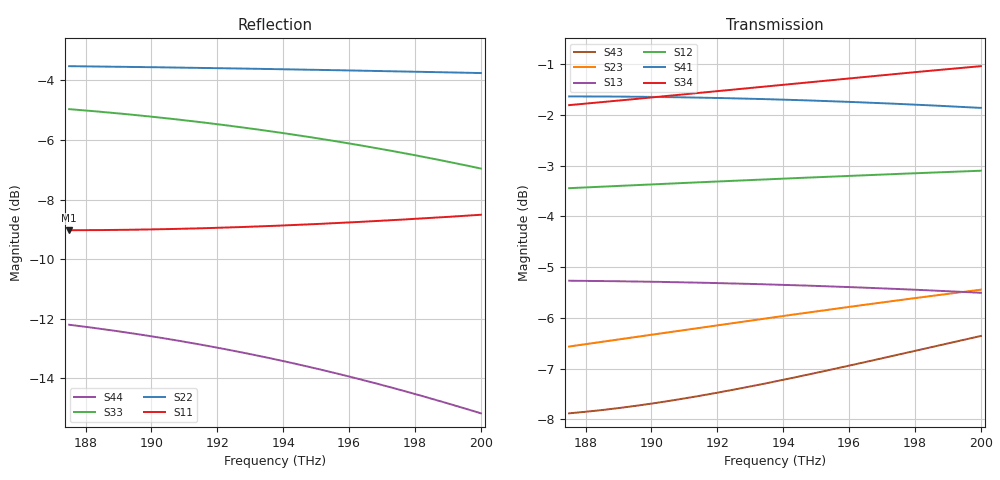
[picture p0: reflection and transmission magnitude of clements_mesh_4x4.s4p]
! 4-Channel Clements Photonic Neural Network Unitary Mesh
! Platform: 220nm SOI Silicon Photonics, Center Wavelength: 1550 nm
! Format: Frequency (Hz), S-parameters: Magnitude / Angle (Degrees)
# HZ S MA R 50
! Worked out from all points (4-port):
!   300 points, 187.5 THz to 200 THz, reference 50 ohm
!   strongest paths, dB at 187.5 THz, 190.5 THz, 193.6 THz, 196.8 THz, 200 THz:
!     S34: -1.8, -1.6, -1.4, -1.2, -1.0
!     S41: -1.6, -1.6, -1.7, -1.8, -1.9
!     S12: -3.4, -3.4, -3.3, -3.2, -3.1
!     S13: -5.3, -5.3, -5.3, -5.4, -5.5
!     S23: -6.6, -6.3, -6.0, -5.7, -5.4
!     S43: -7.9, -7.6, -7.3, -6.8, -6.4
!   lowest |S11| = -9.0 dB at 187.5 THz (marker M1), VSWR 2.09, Z = 52.5 - j38.7 ohm
!   |S11| at or under -10 dB: nowhere
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1.875e14  0.3536 -65.6  0.6728 58.5  0.5454 -161.3  0.3535 16.4
          0.4237 43.0  0.6669 46.3  0.4697 21.4  0.3939 -149.1
          0.09595 170.2  0.1099 41.5  0.5648 41.4  0.8122 52.2
          0.8284 142.6  0.301 17.9  0.4037 -104.2  0.2453 116.3
1.906482e14  0.3552 -67.5  0.68 63.6  0.5436 -151.7  0.3404 27.2
             0.4273 45.8  0.6635 54.4  0.4858 35.4  0.3757 -137.2
             0.08504 157.7  0.08811 42.8  0.5437 48.6  0.8303 58.1
             0.827 143.5  0.2994 24.9  0.4157 -89.2  0.2314 125.4
1.92036e14  0.3569 -68.2  0.6831 65.9  0.5424 -147.4  0.3343 32.0
            0.4294 47.1  0.6617 57.9  0.4931 41.5  0.3669 -131.9
            0.08278 151.4  0.07925 42.7  0.5325 51.6  0.8386 60.7
            0.8255 143.9  0.2986 28.1  0.4232 -82.9  0.2243 129.7
1.934023e14  0.359 -68.9  0.6862 68.2  0.541 -143.2  0.3281 36.7
             0.4316 48.5  0.6599 61.4  0.5003 47.5  0.3578 -126.7
             0.08217 145.0  0.07106 42.2  0.5204 54.6  0.847 63.2
             0.8234 144.3  0.2979 31.2  0.4316 -76.8  0.2166 134.1
1.962371e14  0.3649 -70.1  0.6923 73.0  0.5372 -134.4  0.3147 46.5
             0.4369 51.4  0.6556 68.6  0.5152 59.9  0.3375 -115.7
             0.0857 132.7  0.05602 38.7  0.4921 60.5  0.8645 68.5
             0.8177 145.1  0.2963 37.9  0.4515 -64.7  0.1992 144.0
1.981445e14  0.3698 -70.7  0.6962 76.3  0.5341 -128.4  0.3054 53.1
             0.4409 53.5  0.6525 73.4  0.525 68.2  0.3228 -108.2
             0.09106 125.9  0.0477 34.1  0.4709 64.2  0.8762 72.0
             0.8127 145.6  0.2953 42.5  0.4663 -57.0  0.1867 151.4
2e14  0.3753 -71.2  0.6999 79.5  0.5306 -122.6  0.2961 59.5
      0.445 55.6  0.6494 78.1  0.5344 76.3  0.3078 -100.9
      0.09792 120.6  0.04131 27.5  0.4488 67.6  0.8873 75.5
      0.8071 146.1  0.2945 47.1  0.4811 -49.8  0.1741 159.3
